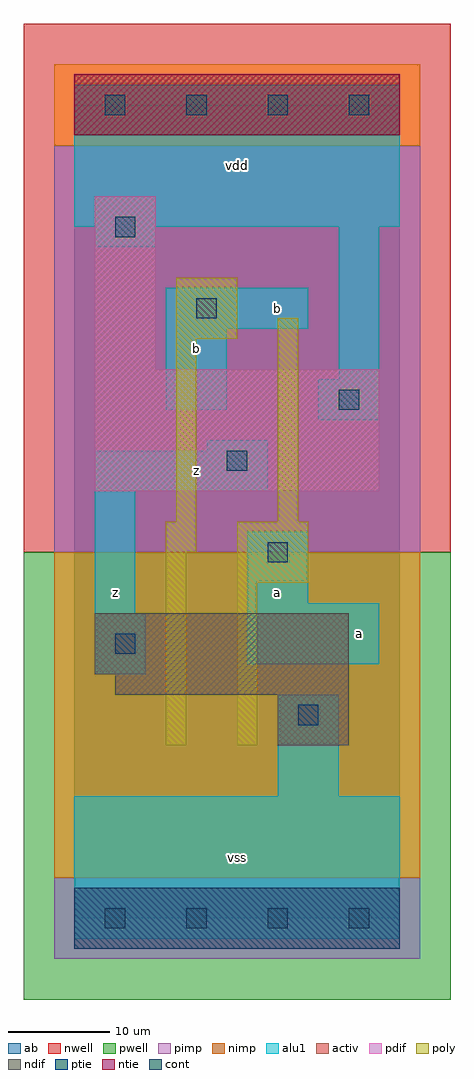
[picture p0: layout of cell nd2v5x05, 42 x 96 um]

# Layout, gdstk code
import gdstk
lib = gdstk.Library(unit=1e-6, precision=1e-09)
def R(c, l, rs):  # rectangles x0, y0, x1, y1
    for r in rs: c.add(gdstk.rectangle(r[:2], r[2:], *l))
def A(c, l, x, y, w, h, nx, ny, dx, dy):  # array of equal rectangles
    R(c, l, [(x+i*dx, y+j*dy, x+i*dx+w, y+j*dy+h) for i in range(nx) for j in range(ny)])
ndif = (3, 0)
pdif = (4, 0)
ntie = (5, 0)
ptie = (6, 0)
cont = (25, 0)
pwell = (41, 0)
nwell = (42, 0)
activ = (43, 0)
pimp = (44, 0)
nimp = (45, 0)
poly = (46, 0)
alu1 = (49, 0)
ab = (63, 0)

nd2v5x05 = lib.new_cell('nd2v5x05')
R(nd2v5x05, ndif, [(20,17,27,22), (4,22,27,24), (2,24,27,30)])
R(nd2v5x05, pdif, [(2,42,30,54), (2,54,8,71)])
R(nd2v5x05, ntie, [(0,77,32,83)])
R(nd2v5x05, ptie, [(0,-3,32,3)])
A(nd2v5x05, cont, 3, -1, 2, 2, 4, 2, 8, 80)
R(nd2v5x05, cont, [(22,19,24,21), (4,26,6,28), (19,35,21,37), (15,44,17,46), (26,50,28,52), (12,59,14,61), (4,67,6,69)])
R(nd2v5x05, pwell, [(-5,-8,37,36)])
R(nd2v5x05, nwell, [(-5,36,37,88)])
R(nd2v5x05, activ, [(0,-3,32,3), (20,17,27,22), (4,22,27,24), (2,24,27,30), (2,42,30,54), (2,54,8,71), (0,77,32,83)])
R(nd2v5x05, pimp, [(-2,-4,34,4), (-2,36,34,76)])
R(nd2v5x05, nimp, [(-2,4,34,36), (-2,76,34,84)])
R(nd2v5x05, poly, [(9,17,11,36), (16,17,18,33), (16,33,23,39), (9,36,12,39), (10,39,12,57), (20,39,22,59), (10,57,16,63)])
R(nd2v5x05, alu1, [(0,-2,32,12), (20,12,26,22), (2,24,7,30), (17,25,30,31), (2,30,6,42), (17,31,23,38), (2,42,19,46), (13,46,19,47), (24,49,30,53), (9,50,15,58), (26,53,30,68), (9,58,23,62), (2,66,8,68), (0,68,32,82)])
R(nd2v5x05, ab, [(0,0,32,80)])
nd2v5x05.add(gdstk.Label('z', (4,32), layer=49, texttype=0))
nd2v5x05.add(gdstk.Label('z', (12,44), layer=49, texttype=0))
nd2v5x05.add(gdstk.Label('b', (12,56), layer=49, texttype=0))
nd2v5x05.add(gdstk.Label('vss', (16,6), layer=49, texttype=0))
nd2v5x05.add(gdstk.Label('a', (20,32), layer=49, texttype=0))
nd2v5x05.add(gdstk.Label('b', (20,60), layer=49, texttype=0))
nd2v5x05.add(gdstk.Label('vdd', (16,74), layer=49, texttype=0))
nd2v5x05.add(gdstk.Label('a', (28,28), layer=49, texttype=0))

lib.write_gds('nd2v5x05.gds')
